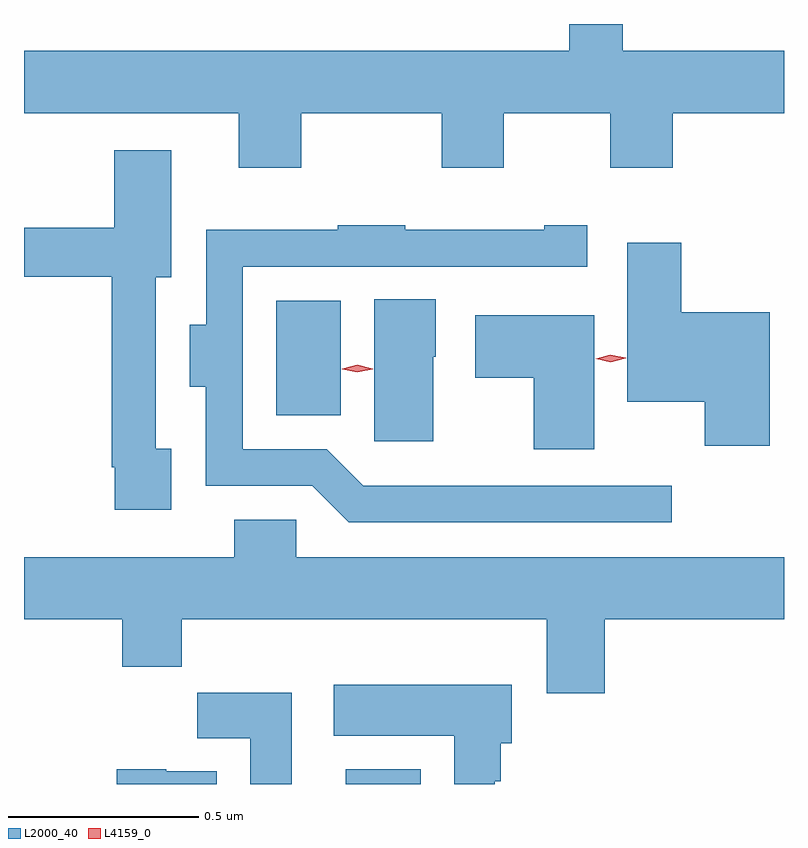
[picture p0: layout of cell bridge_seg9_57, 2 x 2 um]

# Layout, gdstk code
import gdstk
lib = gdstk.Library(unit=1e-6, precision=1e-09)
def R(c, l, rs):  # rectangles x0, y0, x1, y1
    for r in rs: c.add(gdstk.rectangle(r[:2], r[2:], *l))
def P(c, l, *ps):  # polygons
    for p in ps: c.add(gdstk.Polygon(p, *l))
L2000_40 = (2000, 40)
L4159_0 = (4159, 0)

bridge_seg9_57 = lib.new_cell('bridge_seg9_57')
R(bridge_seg9_57, L2000_40, [(1097.909,1183.999,1098.106,1184.038), (1097.726,1184.969,1097.896,1185.271)])
P(bridge_seg9_57, L2000_40, [(1097.791,1185.764),(1098.161,1185.764),(1098.161,1185.621),(1098.325,1185.621),(1098.325,1185.764),(1098.605,1185.764),(1098.605,1185.621),(1098.769,1185.621),(1098.769,1185.764),(1099.062,1185.764),(1099.062,1185.928),(1098.637,1185.928),(1098.637,1185.999),(1098.497,1185.999),(1098.497,1185.928),(1097.062,1185.928),(1097.062,1185.764),(1097.627,1185.764),(1097.627,1185.621),(1097.791,1185.621)],
  [(1097.449,1184.881),(1097.409,1184.881),(1097.409,1185.332),(1097.449,1185.332),(1097.449,1185.667),(1097.3,1185.667),(1097.3,1185.463),(1097.062,1185.463),(1097.062,1185.334),(1097.293,1185.334),(1097.293,1184.833),(1097.301,1184.833),(1097.301,1184.721),(1097.449,1184.721)],
  [(1098.766,1184.784),(1097.955,1184.784),(1097.859,1184.88),(1097.637,1184.88),(1097.637,1185.36),(1098.544,1185.36),(1098.544,1185.469),(1098.431,1185.469),(1098.431,1185.457),(1098.065,1185.457),(1098.065,1185.469),(1097.887,1185.469),(1097.887,1185.457),(1097.541,1185.457),(1097.541,1185.208),(1097.498,1185.208),(1097.498,1185.044),(1097.54,1185.044),(1097.54,1184.784),(1097.82,1184.784),(1097.916,1184.688),(1098.766,1184.688)],
  [(1099.025,1185.241),(1098.791,1185.241),(1098.791,1185.424),(1098.65,1185.424),(1098.65,1185.005),(1098.854,1185.005),(1098.854,1184.889),(1099.025,1184.889)],
  [(1098.139,1185.123),(1098.145,1185.123),(1098.145,1185.275),(1097.984,1185.275),(1097.984,1184.901),(1098.139,1184.901)],
  [(1098.562,1185.232),(1098.249,1185.232),(1098.249,1185.068),(1098.404,1185.068),(1098.404,1184.88),(1098.562,1184.88)],
  [(1098.59,1184.432),(1099.062,1184.432),(1099.062,1184.596),(1097.778,1184.596),(1097.778,1184.694),(1097.615,1184.694),(1097.615,1184.596),(1097.062,1184.596),(1097.062,1184.432),(1097.321,1184.432),(1097.321,1184.308),(1097.477,1184.308),(1097.477,1184.432),(1098.437,1184.432),(1098.437,1184.238),(1098.59,1184.238)],
  [(1098.301,1184.006),(1098.316,1184.006),(1098.316,1184.106),(1098.346,1184.106),(1098.346,1184.26),(1097.877,1184.26),(1097.877,1184.126),(1098.194,1184.126),(1098.194,1183.999),(1098.301,1183.999)],
  [(1097.767,1184.239),(1097.518,1184.239),(1097.518,1184.12),(1097.657,1184.12),(1097.657,1183.999),(1097.767,1183.999)],
  [(1097.569,1184.032),(1097.436,1184.032),(1097.436,1184.038),(1097.306,1184.038),(1097.306,1183.999),(1097.569,1183.999)])
P(bridge_seg9_57, L4159_0, [(1098.606,1185.109),(1098.566,1185.118),(1098.566,1185.118),(1098.566,1185.118),(1098.605,1185.129),(1098.645,1185.121),(1098.645,1185.12),(1098.645,1185.12)],
  [(1097.939,1185.082),(1097.899,1185.091),(1097.899,1185.092),(1097.899,1185.092),(1097.939,1185.102),(1097.98,1185.092),(1097.98,1185.092),(1097.98,1185.091)])

lib.write_gds('bridge_seg9_57.gds')
